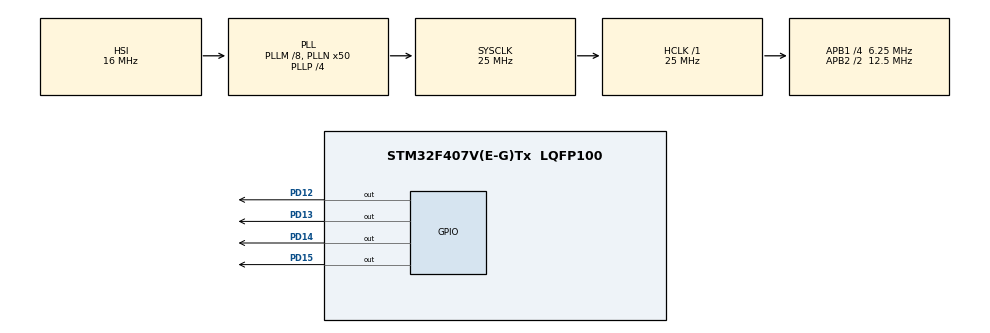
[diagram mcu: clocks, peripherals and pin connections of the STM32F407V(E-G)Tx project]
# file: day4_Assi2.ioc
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FREERTOS.INCLUDE_vTaskDelayUntil=1
FREERTOS.Tasks01=defaultTask,-3,128,StartDefaultTask,Default,NULL,Dynamic,NULL,NULL
FREERTOS.configUSE_NEWLIB_REENTRANT=1
Mcu.Family=STM32F4
Mcu.Name=STM32F407V(E-G)Tx
Mcu.Package=LQFP100
NVIC.PriorityGroup=NVIC_PRIORITYGROUP_4
NVIC.TIM1_UP_TIM10_IRQn=true\:0\:0\:false\:false\:true\:false\:false\:true\:true
NVIC.TimeBase=TIM1_UP_TIM10_IRQn
NVIC.TimeBaseIP=TIM1
PD12.Signal=GPIO_Output
PD13.Signal=GPIO_Output
PD14.Signal=GPIO_Output
PD15.Signal=GPIO_Output
ProjectManager.HeapSize=0x200
ProjectManager.StackSize=0x400
ProjectManager.TargetToolchain=STM32CubeIDE
RCC.48MHZClocksFreq_Value=14285714.285714285
RCC.AHBFreq_Value=25000000
RCC.APB1CLKDivider=RCC_HCLK_DIV4
RCC.APB1Freq_Value=6250000
RCC.APB1TimFreq_Value=12500000
RCC.APB2CLKDivider=RCC_HCLK_DIV2
RCC.APB2Freq_Value=12500000
RCC.APB2TimFreq_Value=25000000
RCC.CortexFreq_Value=25000000
RCC.HCLKFreq_Value=25000000
RCC.HSE_VALUE=8000000
RCC.HSI_VALUE=16000000
RCC.LSE_VALUE=32768
RCC.PLLM=8
RCC.PLLN=50
RCC.PLLP=RCC_PLLP_DIV4
RCC.PLLQ=7
RCC.SYSCLKFreq_VALUE=25000000
RCC.SYSCLKSource=RCC_SYSCLKSOURCE_PLLCLK
RCC.VCOOutputFreq_Value=100000000
VP_FREERTOS_VS_CMSIS_V1.Mode=CMSIS_V1
VP_SYS_VS_tim1.Mode=TIM1
board=STM32F407G-DISC1

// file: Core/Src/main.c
/* USER CODE BEGIN Header */
/**
  ******************************************************************************
  * @file           : main.c
  * @brief          : Main program body
  ******************************************************************************
  * @attention
  *
  * Copyright (c) 2024 STMicroelectronics.
  * All rights reserved.
  *
  * This software is licensed under terms that can be found in the LICENSE file
  * in the root directory of this software component.
  * If no LICENSE file comes with this software, it is provided AS-IS.
  *
  ******************************************************************************
  */
/* USER CODE END Header */
#include "main.h"
#include "cmsis_os.h"

osThreadId defaultTaskHandle;

void SystemClock_Config(void);
static void MX_GPIO_Init(void);
void StartDefaultTask(void const * argument);

/* USER CODE BEGIN 0 */
void vLedTask1(void *pvParam)
{
	uint16_t pin = (uint16_t)pvParam ;
	uint32_t rate = (uint32_t)pvParam & 0xFFFF;
	while(1)
	{
		HAL_GPIO_TogglePin(GPIOD,pin);
		vTaskDelay(rate / portTICK_RATE_MS);
	}
	vTaskDelete(NULL);
}

void vLedTask2(void *pvParam)
{
	uint16_t pin = (uint16_t)pvParam ;
	uint32_t rate = (uint32_t)pvParam & 0xFFFF;
	while(1)
	{
		HAL_GPIO_TogglePin(GPIOD, pin);
		vTaskDelay(rate / portTICK_RATE_MS);
	}
	vTaskDelete(NULL);
}

void vLedTask3(void *pvParam)
{
	uint16_t pin = (uint16_t)pvParam ;
	uint32_t rate = (uint32_t)pvParam & 0xFFFF;
	portTickType wakeupTime = xTaskGetTickCount();
	while(1)
	{
		HAL_GPIO_TogglePin(GPIOD, pin);
		vTaskDelayUntil(&wakeupTime ,rate / portTICK_RATE_MS);
	}
	vTaskDelete(NULL);
}

void vLedTask4(void *pvParam)
{
	uint16_t pin = (uint16_t)pvParam ;
	uint32_t rate = (uint32_t)pvParam & 0xFFFF;
	portTickType wakeupTime = xTaskGetTickCount();
	while(1)
	{
		HAL_GPIO_TogglePin(GPIOD,pin);
		vTaskDelayUntil(&wakeupTime ,rate / portTICK_RATE_MS);
	}
	vTaskDelete(NULL);
}
/* USER CODE END 0 */

int main(void)
{

  /* USER CODE BEGIN 1 */
	BaseType_t xRet;
  /* USER CODE END 1 */

  /* MCU Configuration--------------------------------------------------------*/

  /* Reset of all peripherals, Initializes the Flash interface and the Systick. */
  HAL_Init();

  /* Configure the system clock */
  SystemClock_Config();

  /* Initialize all configured peripherals */
  MX_GPIO_Init();
  /* USER CODE BEGIN 2 */

   // vTaskStartScheduler();
  /* USER CODE END 2 */

  /* Create the thread(s) */
  /* definition and creation of defaultTask */
  osThreadDef(defaultTask, StartDefaultTask, osPriorityIdle, 0, 128);
  defaultTaskHandle = osThreadCreate(osThread(defaultTask), NULL);

  /* USER CODE BEGIN RTOS_THREADS */
  /* add threads, ... */

  xRet = xTaskCreate(vLedTask1, "Task1", configMINIMAL_STACK_SIZE,(void*)(GPIO_PIN_12| (100<<16)), 1,NULL);
      if(xRet != pdTRUE)
    	  Error_Handler();

    xRet = xTaskCreate(vLedTask2, "Task2", configMINIMAL_STACK_SIZE,(void*)(GPIO_PIN_13| (100<<16)), 2,NULL);
        if(xRet != pdTRUE)
      	  Error_Handler();

    xRet = xTaskCreate(vLedTask3, "Task3", configMINIMAL_STACK_SIZE,(void*)(GPIO_PIN_14| (100<<16)), 3,NULL);
          if(xRet != pdTRUE)
        	  Error_Handler();

    xRet = xTaskCreate(vLedTask4, "Task4", configMINIMAL_STACK_SIZE,(void*)(GPIO_PIN_15| (100<<16)), 4,NULL);
            if(xRet != pdTRUE)
          	  Error_Handler();

  /* USER CODE END RTOS_THREADS */

  /* Start scheduler */
  osKernelStart();

  /* We should never get here as control is now taken by the scheduler */

  /* Infinite loop */
  while (1)
  {

  }
}

void SystemClock_Config(void)
{
  RCC_OscInitTypeDef RCC_OscInitStruct = {0};
  RCC_ClkInitTypeDef RCC_ClkInitStruct = {0};

  /** Configure the main internal regulator output voltage
  */
  __HAL_RCC_PWR_CLK_ENABLE();
  __HAL_PWR_VOLTAGESCALING_CONFIG(PWR_REGULATOR_VOLTAGE_SCALE1);

  /** Initializes the RCC Oscillators according to the specified parameters
  * in the RCC_OscInitTypeDef structure.
  */
  RCC_OscInitStruct.OscillatorType = RCC_OSCILLATORTYPE_HSI;
  RCC_OscInitStruct.HSIState = RCC_HSI_ON;
  RCC_OscInitStruct.HSICalibrationValue = RCC_HSICALIBRATION_DEFAULT;
  RCC_OscInitStruct.PLL.PLLState = RCC_PLL_ON;
  RCC_OscInitStruct.PLL.PLLSource = RCC_PLLSOURCE_HSI;
  RCC_OscInitStruct.PLL.PLLM = 8;
  RCC_OscInitStruct.PLL.PLLN = 50;
  RCC_OscInitStruct.PLL.PLLP = RCC_PLLP_DIV4;
  RCC_OscInitStruct.PLL.PLLQ = 7;
  if (HAL_RCC_OscConfig(&RCC_OscInitStruct) != HAL_OK)
  {
    Error_Handler();
  }

  /** Initializes the CPU, AHB and APB buses clocks
  */
  RCC_ClkInitStruct.ClockType = RCC_CLOCKTYPE_HCLK|RCC_CLOCKTYPE_SYSCLK
                              |RCC_CLOCKTYPE_PCLK1|RCC_CLOCKTYPE_PCLK2;
  RCC_ClkInitStruct.SYSCLKSource = RCC_SYSCLKSOURCE_PLLCLK;
  RCC_ClkInitStruct.AHBCLKDivider = RCC_SYSCLK_DIV1;
  RCC_ClkInitStruct.APB1CLKDivider = RCC_HCLK_DIV4;
  RCC_ClkInitStruct.APB2CLKDivider = RCC_HCLK_DIV2;

  if (HAL_RCC_ClockConfig(&RCC_ClkInitStruct, FLASH_LATENCY_0) != HAL_OK)
  {
    Error_Handler();
  }
}

static void MX_GPIO_Init(void)
{
  GPIO_InitTypeDef GPIO_InitStruct = {0};

  /* GPIO Ports Clock Enable */
  __HAL_RCC_GPIOD_CLK_ENABLE();

  /*Configure GPIO pin Output Level */
  HAL_GPIO_WritePin(GPIOD, GPIO_PIN_12|GPIO_PIN_13|GPIO_PIN_14|GPIO_PIN_15, GPIO_PIN_RESET);

  /*Configure GPIO pins : PD12 PD13 PD14 PD15 */
  GPIO_InitStruct.Pin = GPIO_PIN_12|GPIO_PIN_13|GPIO_PIN_14|GPIO_PIN_15;
  GPIO_InitStruct.Mode = GPIO_MODE_OUTPUT_PP;
  GPIO_InitStruct.Pull = GPIO_NOPULL;
  GPIO_InitStruct.Speed = GPIO_SPEED_FREQ_LOW;
  HAL_GPIO_Init(GPIOD, &GPIO_InitStruct);

}

void StartDefaultTask(void const * argument)
{
  for(;;)
  {
    osDelay(1);
  }
}

void HAL_TIM_PeriodElapsedCallback(TIM_HandleTypeDef *htim)
{
  if (htim->Instance == TIM1) {
    HAL_IncTick();
  }
}

void Error_Handler(void)
{
  __disable_irq();
  while (1)
  {
  }
}
